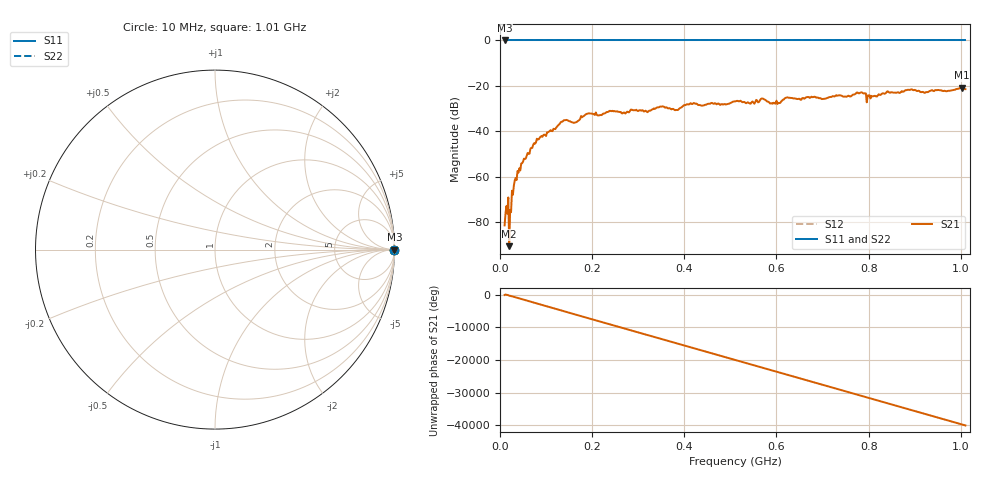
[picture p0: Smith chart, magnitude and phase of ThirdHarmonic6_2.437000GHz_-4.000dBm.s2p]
! 8/17/2025 4:15:37 AM
! C:\ANRITSUVNA\TEMP\TEMP.S2P
! CHANNEL.1
! TR.MEASUREMENT
! RAW.DATA
! RF.CORRECTION.OFF
! AVERAGING.OFF
! IF.BANDWIDTH: 5KHZ
! SWEEPTYPE:  FREQ.SWEEP(Linear)
! Reference Plane Port Info
! PORT:  PORT1  PORT2
! DISTANCE:  0  m  0  m
! TIME:  0  s  0  s
! PHASE.OFFSET:  0  deg.  0  deg.
! LOSS:  0  dB  0  dB
! REF.LOSS:  0  dB  0  dB
! REF.FREQ:  0  Hz  0  Hz
! Power Info
! POWER:  -20  dBm  -20  dBm
! EFF.POWER:  -20  dBm  -20  dBm
! SOURCE.ATTEN:  0  dB  0  dB
! TEST.ATTEN:  0  dB  0  dB
# GHZ S RI R 50.0
! FREQ.GHZ  S11RE  S11IM  S21RE  S21IM  S12RE  S12IM  S22RE  S22IM
!; PortSelection: Port_12
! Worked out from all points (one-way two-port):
!   501 points, 10 MHz to 1.01 GHz, reference 50 ohm
!   highest |S21| = -20.76 dB at 1.002 GHz (marker M1); lowest = -90.4 dB at 20 MHz (marker M2)
!   lowest |S11| = 0.0 dB at 10 MHz (marker M3)
!   |S11| at or under -10 dB: nowhere
!   |S22| runs from 0.0 to 0.0 dB; largest |S21 - S12| = 1.1
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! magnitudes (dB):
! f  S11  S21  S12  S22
! 10 MHz  0.0  -81.3  0.0  0.0
! 14 MHz  0.0  -72.8  0.0  0.0
! 20 MHz  0.0  -90.4  0.0  0.0
! 24 MHz  0.0  -75.5  0.0  0.0
! 30 MHz  0.0  -63.9  0.0  0.0
! 36 MHz  0.0  -61.4  0.0  0.0
! 76 MHz  0.0  -45.4  0.0  0.0
! 136 MHz  0.0  -35.6  0.0  0.0
! 162 MHz  0.0  -36.1  0.0  0.0
! 178 MHz  0.0  -33.8  0.0  0.0
! 344 MHz  0.0  -29.4  0.0  0.0
! 382 MHz  0.0  -30.5  0.0  0.0
! 416 MHz  0.0  -27.9  0.0  0.0
! 510 MHz  0.0  -26.8  0.0  0.0
! 570 MHz  0.0  -25.5  0.0  0.0
! 594 MHz  0.0  -27.4  0.0  0.0
! 678 MHz  0.0  -24.9  0.0  0.0
! 780 MHz  0.0  -23.2  0.0  0.0
! 800 MHz  0.0  -24.2  0.0  0.0
! 844 MHz  0.0  -22.8  0.0  0.0
! 1.002 GHz  0.0  -20.8  0.0  0.0
! 1.01 GHz  0.0  -21.4  0.0  0.0
